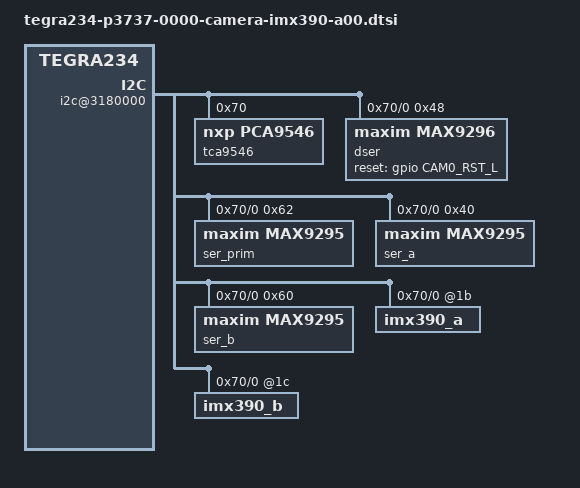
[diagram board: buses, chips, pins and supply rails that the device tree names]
// SPDX-License-Identifier: GPL-2.0-only
// Copyright (c) 2018-2023, NVIDIA CORPORATION & AFFILIATES. All rights reserved.

#include "tegra234-camera-imx390-a00.dtsi"
#include <dt-bindings/clock/tegra234-clock.h>

#define CAM0_RST_L	TEGRA234_MAIN_GPIO(H, 3)
#define CAMERA_I2C_MUX_BUS(x) (0x1E + x)

/* camera control gpio definitions */
/ {
	fragment-camera-imx390@0 {
		target-path = "/";
		__overlay__ {
			bus@0{
				i2c@3180000 {
					tca9546@70 {
						compatible = "nxp,pca9546";
						reg = <0x70>;
						#address-cells = <1>;
						#size-cells = <0>;
						skip_mux_detect = "yes";
						force_bus_start = <CAMERA_I2C_MUX_BUS(0)>;
						i2c@0 {
							reg = <0>;
							i2c-mux,deselect-on-exit;
							#address-cells = <1>;
							#size-cells = <0>;
							dser: max9296@48 {
								compatible = "maxim,max9296";
								reg = <0x48>;
								csi-mode = "2x4";
								max-src = <2>;
								reset-gpios = <&gpio CAM0_RST_L GPIO_ACTIVE_HIGH>;
							};
							ser_prim: max9295_prim@62 {
								compatible = "maxim,max9295";
								reg = <0x62>;
								is-prim-ser;
							};
							ser_a: max9295_a@40 {
								compatible = "maxim,max9295";
								reg = <0x40>;
								nvidia,gmsl-dser-device = <&dser>;
							};
							ser_b: max9295_b@60 {
								compatible = "maxim,max9295";
								reg = <0x60>;
								nvidia,gmsl-dser-device = <&dser>;
							};
							imx390_a@1b {
								def-addr = <0x1a>;
								/* Define any required hw resources needed by driver */
								/* ie. clocks, io pins, power sources */
								clocks = <&bpmp TEGRA234_CLK_EXTPERIPH1>,
										<&bpmp TEGRA234_CLK_EXTPERIPH1>;
								clock-names = "extperiph1", "pllp_grtba";
								mclk = "extperiph1";
								nvidia,gmsl-ser-device = <&ser_a>;
								nvidia,gmsl-dser-device = <&dser>;
							};
							imx390_b@1c {
								def-addr = <0x1a>;
								/* Define any required hw resources needed by driver */
								/* ie. clocks, io pins, power sources */
								clocks = <&bpmp TEGRA234_CLK_EXTPERIPH1>,
										<&bpmp TEGRA234_CLK_EXTPERIPH1>;
								clock-names = "extperiph1", "pllp_grtba";
								mclk = "extperiph1";
								nvidia,gmsl-ser-device = <&ser_b>;
								nvidia,gmsl-dser-device = <&dser>;
							};
						};
					};
				};
			};
		};
	};
};
